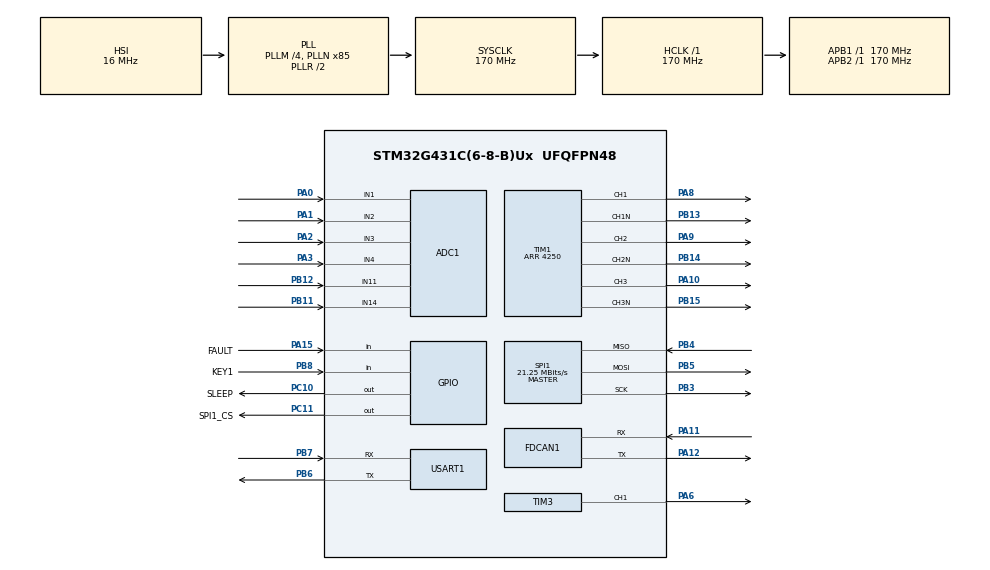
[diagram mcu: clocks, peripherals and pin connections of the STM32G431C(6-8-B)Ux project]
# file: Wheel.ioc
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ADC1.Channel-5\#ChannelRegularConversion=ADC_CHANNEL_1
ADC1.Channel-6\#ChannelRegularConversion=ADC_CHANNEL_11
ADC1.Channel-7\#ChannelRegularConversion=ADC_CHANNEL_14
ADC1.ClockPrescaler=ADC_CLOCK_ASYNC_DIV4
ADC1.ContinuousConvMode=DISABLE
ADC1.DMAContinuousRequests=ENABLE
ADC1.EnableInjectedConversion=ENABLE
ADC1.EnableRegularConversion=ENABLE
ADC1.ExternalTrigInjecConv=ADC_EXTERNALTRIGINJEC_T1_CC4
ADC1.InjNumberOfConversion=3
ADC1.InjectedChannel-1\#ChannelInjectedConversion=ADC_CHANNEL_2
ADC1.InjectedChannel-2\#ChannelInjectedConversion=ADC_CHANNEL_3
ADC1.InjectedChannel-3\#ChannelInjectedConversion=ADC_CHANNEL_4
ADC1.InjectedOffsetNumber-1\#ChannelInjectedConversion=ADC_OFFSET_NONE
ADC1.InjectedOffsetNumber-2\#ChannelInjectedConversion=ADC_OFFSET_NONE
ADC1.InjectedOffsetNumber-3\#ChannelInjectedConversion=ADC_OFFSET_NONE
ADC1.InjectedRank-1\#ChannelInjectedConversion=1
ADC1.InjectedRank-2\#ChannelInjectedConversion=2
ADC1.InjectedRank-3\#ChannelInjectedConversion=3
ADC1.InjectedSamplingTime-1\#ChannelInjectedConversion=ADC_SAMPLETIME_6CYCLES_5
ADC1.InjectedSamplingTime-2\#ChannelInjectedConversion=ADC_SAMPLETIME_6CYCLES_5
ADC1.InjectedSamplingTime-3\#ChannelInjectedConversion=ADC_SAMPLETIME_6CYCLES_5
ADC1.NbrOfConversion=3
ADC1.NbrOfConversionFlag=1
ADC1.OffsetNumber-5\#ChannelRegularConversion=ADC_OFFSET_NONE
ADC1.OffsetNumber-6\#ChannelRegularConversion=ADC_OFFSET_NONE
ADC1.OffsetNumber-7\#ChannelRegularConversion=ADC_OFFSET_NONE
ADC1.Rank-5\#ChannelRegularConversion=1
ADC1.Rank-6\#ChannelRegularConversion=2
ADC1.Rank-7\#ChannelRegularConversion=3
ADC1.SamplingTime-5\#ChannelRegularConversion=ADC_SAMPLETIME_6CYCLES_5
ADC1.SamplingTime-6\#ChannelRegularConversion=ADC_SAMPLETIME_6CYCLES_5
ADC1.SamplingTime-7\#ChannelRegularConversion=ADC_SAMPLETIME_6CYCLES_5
ADC1.master=1
Dma.ADC1.0.Direction=DMA_PERIPH_TO_MEMORY
Dma.ADC1.0.EventEnable=DISABLE
Dma.ADC1.0.Instance=DMA1_Channel1
Dma.ADC1.0.MemDataAlignment=DMA_MDATAALIGN_HALFWORD
Dma.ADC1.0.MemInc=DMA_MINC_ENABLE
Dma.ADC1.0.Mode=DMA_CIRCULAR
Dma.ADC1.0.PeriphDataAlignment=DMA_PDATAALIGN_HALFWORD
Dma.ADC1.0.PeriphInc=DMA_PINC_DISABLE
Dma.ADC1.0.Polarity=HAL_DMAMUX_REQ_GEN_RISING
Dma.ADC1.0.Priority=DMA_PRIORITY_HIGH
Dma.ADC1.0.RequestNumber=1
Dma.ADC1.0.SignalID=NONE
Dma.ADC1.0.SyncEnable=DISABLE
Dma.ADC1.0.SyncPolarity=HAL_DMAMUX_SYNC_NO_EVENT
Dma.ADC1.0.SyncRequestNumber=1
Dma.ADC1.0.SyncSignalID=NONE
Dma.Request0=ADC1
Dma.Request1=SPI1_RX
Dma.Request2=SPI1_TX
Dma.Request3=TIM3_CH1
Dma.SPI1_RX.1.Direction=DMA_PERIPH_TO_MEMORY
Dma.SPI1_RX.1.EventEnable=DISABLE
Dma.SPI1_RX.1.Instance=DMA1_Channel2
Dma.SPI1_RX.1.MemDataAlignment=DMA_MDATAALIGN_BYTE
Dma.SPI1_RX.1.MemInc=DMA_MINC_ENABLE
Dma.SPI1_RX.1.Mode=DMA_NORMAL
Dma.SPI1_RX.1.PeriphDataAlignment=DMA_PDATAALIGN_BYTE
Dma.SPI1_RX.1.PeriphInc=DMA_PINC_DISABLE
Dma.SPI1_RX.1.Polarity=HAL_DMAMUX_REQ_GEN_RISING
Dma.SPI1_RX.1.Priority=DMA_PRIORITY_LOW
Dma.SPI1_RX.1.RequestNumber=1
Dma.SPI1_RX.1.SignalID=NONE
Dma.SPI1_RX.1.SyncEnable=DISABLE
Dma.SPI1_RX.1.SyncPolarity=HAL_DMAMUX_SYNC_NO_EVENT
Dma.SPI1_RX.1.SyncRequestNumber=1
Dma.SPI1_RX.1.SyncSignalID=NONE
Dma.SPI1_TX.2.Direction=DMA_MEMORY_TO_PERIPH
Dma.SPI1_TX.2.EventEnable=DISABLE
Dma.SPI1_TX.2.Instance=DMA1_Channel3
Dma.SPI1_TX.2.MemDataAlignment=DMA_MDATAALIGN_BYTE
Dma.SPI1_TX.2.MemInc=DMA_MINC_ENABLE
Dma.SPI1_TX.2.Mode=DMA_NORMAL
Dma.SPI1_TX.2.PeriphDataAlignment=DMA_PDATAALIGN_BYTE
Dma.SPI1_TX.2.PeriphInc=DMA_PINC_DISABLE
Dma.SPI1_TX.2.Polarity=HAL_DMAMUX_REQ_GEN_RISING
Dma.SPI1_TX.2.Priority=DMA_PRIORITY_LOW
Dma.SPI1_TX.2.RequestNumber=1
Dma.SPI1_TX.2.SignalID=NONE
Dma.SPI1_TX.2.SyncEnable=DISABLE
Dma.SPI1_TX.2.SyncPolarity=HAL_DMAMUX_SYNC_NO_EVENT
Dma.SPI1_TX.2.SyncRequestNumber=1
Dma.SPI1_TX.2.SyncSignalID=NONE
Dma.TIM3_CH1.3.Direction=DMA_MEMORY_TO_PERIPH
Dma.TIM3_CH1.3.EventEnable=DISABLE
Dma.TIM3_CH1.3.Instance=DMA1_Channel4
Dma.TIM3_CH1.3.MemDataAlignment=DMA_MDATAALIGN_HALFWORD
Dma.TIM3_CH1.3.MemInc=DMA_MINC_ENABLE
Dma.TIM3_CH1.3.Mode=DMA_CIRCULAR
Dma.TIM3_CH1.3.PeriphDataAlignment=DMA_PDATAALIGN_HALFWORD
Dma.TIM3_CH1.3.PeriphInc=DMA_PINC_DISABLE
Dma.TIM3_CH1.3.Polarity=HAL_DMAMUX_REQ_GEN_RISING
Dma.TIM3_CH1.3.Priority=DMA_PRIORITY_LOW
Dma.TIM3_CH1.3.RequestNumber=1
Dma.TIM3_CH1.3.SignalID=NONE
Dma.TIM3_CH1.3.SyncEnable=DISABLE
Dma.TIM3_CH1.3.SyncPolarity=HAL_DMAMUX_SYNC_NO_EVENT
Dma.TIM3_CH1.3.SyncRequestNumber=1
Dma.TIM3_CH1.3.SyncSignalID=NONE
FDCAN1.AutoRetransmission=ENABLE
FDCAN1.CalculateBaudRateNominal=499999
FDCAN1.CalculateTimeBitNominal=2000
FDCAN1.CalculateTimeQuantumNominal=58.82352941176471
FDCAN1.ClockDivider=FDCAN_CLOCK_DIV1
FDCAN1.DataPrescaler=10
FDCAN1.DataTimeSeg1=25
FDCAN1.DataTimeSeg2=8
FDCAN1.ExtFiltersNbr=1
FDCAN1.NominalPrescaler=10
FDCAN1.NominalTimeSeg1=25
FDCAN1.NominalTimeSeg2=8
FDCAN1.StdFiltersNbr=0
Mcu.Family=STM32G4
Mcu.Name=STM32G431C(6-8-B)Ux
Mcu.Package=UFQFPN48
NVIC.ADC1_2_IRQn=true\:0\:0\:false\:false\:true\:true\:true\:true
NVIC.DMA1_Channel1_IRQn=true\:0\:0\:false\:false\:true\:false\:true\:true
NVIC.DMA1_Channel2_IRQn=true\:0\:0\:false\:false\:true\:false\:true\:true
NVIC.DMA1_Channel3_IRQn=true\:0\:0\:false\:false\:true\:false\:true\:true
NVIC.DMA1_Channel4_IRQn=true\:0\:0\:false\:false\:true\:false\:true\:true
NVIC.FDCAN1_IT0_IRQn=true\:1\:0\:true\:false\:true\:true\:true\:true
NVIC.PriorityGroup=NVIC_PRIORITYGROUP_4
NVIC.TIM1_UP_TIM16_IRQn=true\:0\:0\:false\:false\:true\:true\:true\:true
NVIC.TIM2_IRQn=true\:0\:0\:true\:false\:true\:true\:true\:true
NVIC.USART1_IRQn=true\:1\:0\:true\:false\:true\:true\:true\:true
PA0.Mode=IN1-Single-Ended
PA0.Signal=ADC1_IN1
PA1.Mode=IN2-Single-Ended
PA1.Signal=ADC1_IN2
PA10.Signal=S_TIM1_CH3
PA11.Mode=FDCAN_Activate
PA11.Signal=FDCAN1_RX
PA12.Mode=FDCAN_Activate
PA12.Signal=FDCAN1_TX
PA13.Mode=Serial_Wire
PA13.Signal=SYS_JTMS-SWDIO
PA14.Mode=Serial_Wire
PA14.Signal=SYS_JTCK-SWCLK
PA15.GPIO_Label=FAULT
PA15.Signal=GPIO_Input
PA2.Mode=IN3-Single-Ended
PA2.Signal=ADC1_IN3
PA3.Mode=IN4-Single-Ended
PA3.Signal=ADC1_IN4
PA6.GPIO_PuPd=GPIO_NOPULL
PA6.GPIO_Speed=GPIO_SPEED_FREQ_HIGH
PA6.Signal=S_TIM3_CH1
PA8.Signal=S_TIM1_CH1
PA9.Signal=S_TIM1_CH2
PB11.Mode=IN14-Single-Ended
PB11.Signal=ADC1_IN14
PB12.Mode=IN11-Single-Ended
PB12.Signal=ADC1_IN11
PB13.Mode=PWM Generation1 CH1 CH1N
PB13.Signal=TIM1_CH1N
PB14.Mode=PWM Generation2 CH2 CH2N
PB14.Signal=TIM1_CH2N
PB15.Mode=PWM Generation3 CH3 CH3N
PB15.Signal=TIM1_CH3N
PB3.Mode=Full_Duplex_Master
PB3.Signal=SPI1_SCK
PB4.Mode=Full_Duplex_Master
PB4.Signal=SPI1_MISO
PB5.Mode=Full_Duplex_Master
PB5.Signal=SPI1_MOSI
PB6.Mode=Asynchronous
PB6.Signal=USART1_TX
PB7.Mode=Asynchronous
PB7.Signal=USART1_RX
PB8-BOOT0.GPIO_Label=KEY1
PB8-BOOT0.Signal=GPIO_Input
PC10.GPIO_Label=SLEEP
PC10.Signal=GPIO_Output
PC11.GPIO_Label=SPI1_CS
PC11.Signal=GPIO_Output
PF0-OSC_IN.Mode=HSE-External-Oscillator
PF0-OSC_IN.Signal=RCC_OSC_IN
PF1-OSC_OUT.Mode=HSE-External-Oscillator
PF1-OSC_OUT.Signal=RCC_OSC_OUT
ProjectManager.HeapSize=0x200
ProjectManager.StackSize=0x400
ProjectManager.TargetToolchain=CMake
RCC.ADC12CLockSelection=RCC_ADC12CLKSOURCE_PLL
RCC.ADC12Freq_Value=170000000
RCC.AHBFreq_Value=170000000
RCC.APB1Freq_Value=170000000
RCC.APB1TimFreq_Value=170000000
RCC.APB2Freq_Value=170000000
RCC.APB2TimFreq_Value=170000000
RCC.CortexFreq_Value=170000000
RCC.EXTERNAL_CLOCK_VALUE=12288000
RCC.HCLKFreq_Value=170000000
RCC.HSE_VALUE=16000000
RCC.HSI48_VALUE=48000000
RCC.HSI_VALUE=16000000
RCC.LSE_VALUE=32768
RCC.PLLM=RCC_PLLM_DIV4
RCC.PLLN=85
RCC.SYSCLKFreq_VALUE=170000000
RCC.SYSCLKSource=RCC_SYSCLKSOURCE_PLLCLK
RCC.USBFreq_Value=170000000
RCC.VCOOutputFreq_Value=340000000
SH.S_TIM1_CH1.0=TIM1_CH1,PWM Generation1 CH1 CH1N
SH.S_TIM1_CH2.0=TIM1_CH2,PWM Generation2 CH2 CH2N
SH.S_TIM1_CH3.0=TIM1_CH3,PWM Generation3 CH3 CH3N
SH.S_TIM3_CH1.0=TIM3_CH1,PWM Generation1 CH1
SPI1.BaudRatePrescaler=SPI_BAUDRATEPRESCALER_8
SPI1.CLKPhase=SPI_PHASE_2EDGE
SPI1.CLKPolarity=SPI_POLARITY_HIGH
SPI1.CalculateBaudRate=21.25 MBits/s
SPI1.DataSize=SPI_DATASIZE_8BIT
SPI1.Direction=SPI_DIRECTION_2LINES
SPI1.Mode=SPI_MODE_MASTER
SPI1.VirtualType=VM_MASTER
STMicroelectronics.X-CUBE-ALGOBUILD.1.4.0.LibraryCcDSPOoLibraryJjDSPOoLibrary=true
TIM1.Channel-PWM\ Generation1\ CH1\ CH1N=TIM_CHANNEL_1
TIM1.Channel-PWM\ Generation2\ CH2\ CH2N=TIM_CHANNEL_2
TIM1.Channel-PWM\ Generation3\ CH3\ CH3N=TIM_CHANNEL_3
TIM1.Channel-PWM\ Generation4\ No\ Output=TIM_CHANNEL_4
TIM1.CounterMode=TIM_COUNTERMODE_CENTERALIGNED1
TIM1.PeriodNoDither=4250
TIM1.PulseNoDither_4=4240
TIM1.TIM_MasterOutputTrigger=TIM_TRGO_OC4REF
TIM2.PeriodNoDither=1000-1
TIM2.Prescaler=170-1
TIM3.Channel-PWM\ Generation1\ CH1=TIM_CHANNEL_1
TIM3.PeriodNoDither=212
USART1.VirtualMode-Asynchronous=VM_ASYNC
VP_STMicroelectronics.X-CUBE-ALGOBUILD_VS_DSPOoLibraryJjLibrary_1.4.0_1.4.0.Mode=DSPOoLibraryJjLibrary
VP_SYS_VS_DBSignals.Mode=DisableDeadBatterySignals
VP_TIM1_VS_ClockSourceINT.Mode=Internal
VP_TIM1_VS_no_output4.Mode=PWM Generation4 No Output
VP_TIM2_VS_ClockSourceINT.Mode=Internal
VP_TIM3_VS_ClockSourceINT.Mode=Internal
board=custom

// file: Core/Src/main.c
/* USER CODE BEGIN Header */
/**
  ******************************************************************************
  * @file           : main.c
  * @brief          : Main program body
  ******************************************************************************
  * @attention
  *
  * Copyright (c) 2025 STMicroelectronics.
  * All rights reserved.
  *
  * This software is licensed under terms that can be found in the LICENSE file
  * in the root directory of this software component.
  * If no LICENSE file comes with this software, it is provided AS-IS.
  *
  ******************************************************************************
  */
/* USER CODE END Header */
#include "main.h"
#include "adc.h"
#include "dma.h"
#include "fdcan.h"
#include "spi.h"
#include "tim.h"
#include "usart.h"
#include "gpio.h"

/* USER CODE BEGIN Includes */
#include "stdio.h"
#include "user.h"
/* USER CODE END Includes */

/* USER CODE BEGIN PTD */
uint16_t ADCdata[3];
/* USER CODE END PTD */

void SystemClock_Config(void);

/* USER CODE BEGIN 0 */

#define WS_H           136   // 1 码相对计数值
#define WS_L           59   // 0 码相对计数值
#define WS_REST        40   // 复位信号脉冲数量
#define LED_NUM         4  // WS2812灯个数
#define DATA_LEN       24   // WS2812数据长度，单个需要24个字节
#define WS2812_RST_NUM 50   // 官方复位时间为50us（40个周期），保险起见使用50个周期

//显存数组，长度为 灯的数量*24+复位周期
uint16_t WS2812_RGB_Buff[LED_NUM*DATA_LEN+WS2812_RST_NUM] = {0};

void ws2812_set_RGB(uint8_t R, uint8_t G, uint8_t B, uint16_t num)
{
    //指针偏移:需要跳过复位信号的N个0
    uint16_t* p = (WS2812_RGB_Buff + WS2812_RST_NUM) + (num * LED_NUM);

    for (uint16_t i = 0;i < 8;i++)
    {
        //填充数组
        p[i]      = (G << i) & (0x80)?WS_H : WS_L;
        p[i + 8]  = (R << i) & (0x80)?WS_H : WS_L;
        p[i + 16] = (B << i) & (0x80)?WS_H : WS_L;
    }
}

// HSV到RGB转换函数
void HSVtoRGB(int h, int s, int v, uint8_t *r, uint8_t *g, uint8_t *b) {
    int h_i = (h%360)/60;
    int f = h - 60*h_i;
    int p = (v*(255-s))>>8;
    int q = (v*(255-((s*f)>>8)))>>8;
    int t = (v*(255-((s*(255-f))>>8)))>>8;

    switch(h_i) {
        case 0: *r=v; *g=t; *b=p; break;
        case 1: *r=q; *g=v; *b=p; break;
        case 2: *r=p; *g=v; *b=t; break;
        case 3: *r=p; *g=q; *b=v; break;
        case 4: *r=t; *g=p; *b=v; break;
        case 5: *r=v; *g=p; *b=q; break;
    }
}
//WS2812初始化函数
void WS2812_Init()
{
	//设置关闭所有灯
  // for(int i=0;i<LED_NUM;i++)
  // {
	//   WS2812_Set(i,0,20,0);
  // }
  //作用：调用DMA将显存中的内容实时搬运至定时器的比较寄存器
  HAL_TIM_PWM_Start_DMA(&htim3,TIM_CHANNEL_1,(uint32_t *)WS2812_RGB_Buff,sizeof(WS2812_RGB_Buff)/sizeof(uint16_t));
}

FDCAN_TxHeaderTypeDef TxHeader;
FDCAN_RxHeaderTypeDef RxHeader;
uint8_t TxData[64];
uint8_t RxData[64];

void FDCAN_SendMessage(uint32_t id, uint8_t *data, uint8_t len) {
  TxHeader.Identifier = id;              // CAN ID
  TxHeader.IdType = FDCAN_STANDARD_ID;   // 标准ID
  TxHeader.TxFrameType = FDCAN_DATA_FRAME;
  TxHeader.DataLength = FDCAN_DLC_BYTES_8; // 数据长度编码
  TxHeader.ErrorStateIndicator = FDCAN_ESI_ACTIVE;
  TxHeader.BitRateSwitch = FDCAN_BRS_OFF;     // 关闭速率切换（经典模式）
  TxHeader.FDFormat = FDCAN_CLASSIC_CAN;      // 经典CAN帧
  TxHeader.TxEventFifoControl = FDCAN_NO_TX_EVENTS;
  TxHeader.MessageMarker = 0;

  if (HAL_FDCAN_AddMessageToTxFifoQ(&hfdcan1, &TxHeader, data) != HAL_OK) {
    Error_Handler();
  }
}

void HAL_FDCAN_RxFifo0Callback(FDCAN_HandleTypeDef *hfdcan, uint32_t RxFifo0ITs)
{
  if((RxFifo0ITs & FDCAN_IT_RX_FIFO0_NEW_MESSAGE) != RESET)
  {
    /* Retrieve Rx messages from RX FIFO0 */
    if (HAL_FDCAN_GetRxMessage(hfdcan, FDCAN_RX_FIFO0, &RxHeader, RxData) == HAL_OK)
    {
			// printf("ID: %X Data: %X  %X \r\n", RxHeader.Identifier, RxData[0], RxData[7]);
    }
	}
}

void HAL_TIM_PeriodElapsedCallback(TIM_HandleTypeDef *htim) {
  if (htim->Instance == TIM2) {  //
   loop();
  }
}

void HAL_ADCEx_InjectedConvCpltCallback(ADC_HandleTypeDef *hadc)
{
  if (hadc->Instance == ADC1)
  {
    torqueLoop();
  }
}

void HAL_ADC_ConvCpltCallback(ADC_HandleTypeDef* hadc)
{

  if(hadc==&hadc1)
  {
	  // printf("%f %f %d\r\n",((float)data[0]/4096)*3.0*16,temp_trans(data[1]),data[2]);//temp_trans(data[1])
    //   HAL_UART_Transmit(&huart2, (uint8_t*)message,sizeof(message),HAL_MAX_DELAY);
    //  HAL_ADC_Start_DMA(&hadc1,(uint32_t*)data,3);

  }

}

/* USER CODE END 0 */

int main(void)
{

  /* MCU Configuration--------------------------------------------------------*/

  /* Reset of all peripherals, Initializes the Flash interface and the Systick. */
  HAL_Init();

  /* Configure the system clock */
  SystemClock_Config();

  /* Initialize all configured peripherals */
  MX_GPIO_Init();
  MX_DMA_Init();
  MX_ADC1_Init();
  MX_FDCAN1_Init();
  MX_TIM1_Init();
  MX_TIM2_Init();
  MX_TIM3_Init();
  MX_SPI1_Init();
  MX_USART1_UART_Init();
  /* USER CODE BEGIN 2 */
  HAL_ADCEx_Calibration_Start(&hadc1, ADC_SINGLE_ENDED);//校准
  HAL_ADC_Start_DMA(&hadc1,(uint32_t*)ADCdata,3);

  // HAL_TIM_PWM_Start(&htim3, TIM_CHANNEL_1);
  WS2812_Init();
  // 启用RX FIFO0中断
  HAL_FDCAN_ActivateNotification(&hfdcan1, FDCAN_IT_RX_FIFO0_NEW_MESSAGE, 0);
  // 启动FDCAN
  HAL_FDCAN_Start(&hfdcan1);
  uint8_t r, g, b, v = 0, toggle = 0;
  setup();
  HAL_TIM_Base_Start_IT(&htim2);
  /* USER CODE END 2 */

  /* Infinite loop */
  /* USER CODE BEGIN WHILE */
  while (1)
  {
    logLoop();
    HAL_ADC_Start_DMA(&hadc1,(uint32_t*)ADCdata,3);
    HSVtoRGB(120, 255, v, &r, &g, &b);
    ws2812_set_RGB(r/2, g/2, b/2, 0);
    if (toggle == 0)
    {
     v++;
     if (v == 250)
     {
      toggle = 1;
     }

    }
    else
    {
      v--;
     if (v == 5)
     {
      toggle = 0;
     }
    }

    // uint8_t data[8] = {0x11, 0x22, 0x33, 0x44, 0x55, 0x66, 0x77, 0x88};
    // FDCAN_SendMessage(0x123, data, 8);
    // HAL_Delay(100);
    // printf("%f %f %d\r\n",((float)ADCdata[0]/4096)*3.0*16,temp_trans(ADCdata[1]),ADCdata[2]);
    HAL_Delay(10);
    // printf("test\r\n");
    //HAL_UART_Transmit(&huart1, data, 3, 100);
    /* USER CODE END WHILE */

  }
}

void SystemClock_Config(void)
{
  RCC_OscInitTypeDef RCC_OscInitStruct = {0};
  RCC_ClkInitTypeDef RCC_ClkInitStruct = {0};

  /** Configure the main internal regulator output voltage
  */
  HAL_PWREx_ControlVoltageScaling(PWR_REGULATOR_VOLTAGE_SCALE1_BOOST);

  /** Initializes the RCC Oscillators according to the specified parameters
  * in the RCC_OscInitTypeDef structure.
  */
  RCC_OscInitStruct.OscillatorType = RCC_OSCILLATORTYPE_HSI;
  RCC_OscInitStruct.HSIState = RCC_HSI_ON;
  RCC_OscInitStruct.HSICalibrationValue = RCC_HSICALIBRATION_DEFAULT;
  RCC_OscInitStruct.PLL.PLLState = RCC_PLL_ON;
  RCC_OscInitStruct.PLL.PLLSource = RCC_PLLSOURCE_HSI;
  RCC_OscInitStruct.PLL.PLLM = RCC_PLLM_DIV4;
  RCC_OscInitStruct.PLL.PLLN = 85;
  RCC_OscInitStruct.PLL.PLLP = RCC_PLLP_DIV2;
  RCC_OscInitStruct.PLL.PLLQ = RCC_PLLQ_DIV2;
  RCC_OscInitStruct.PLL.PLLR = RCC_PLLR_DIV2;
  if (HAL_RCC_OscConfig(&RCC_OscInitStruct) != HAL_OK)
  {
    Error_Handler();
  }

  /** Initializes the CPU, AHB and APB buses clocks
  */
  RCC_ClkInitStruct.ClockType = RCC_CLOCKTYPE_HCLK|RCC_CLOCKTYPE_SYSCLK
                              |RCC_CLOCKTYPE_PCLK1|RCC_CLOCKTYPE_PCLK2;
  RCC_ClkInitStruct.SYSCLKSource = RCC_SYSCLKSOURCE_PLLCLK;
  RCC_ClkInitStruct.AHBCLKDivider = RCC_SYSCLK_DIV1;
  RCC_ClkInitStruct.APB1CLKDivider = RCC_HCLK_DIV1;
  RCC_ClkInitStruct.APB2CLKDivider = RCC_HCLK_DIV1;

  if (HAL_RCC_ClockConfig(&RCC_ClkInitStruct, FLASH_LATENCY_4) != HAL_OK)
  {
    Error_Handler();
  }
}

void Error_Handler(void)
{
  __disable_irq();
  while (1)
  {
  }
}
